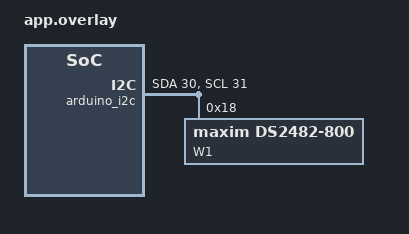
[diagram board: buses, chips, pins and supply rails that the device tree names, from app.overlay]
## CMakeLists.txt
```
cmake_minimum_required(VERSION 3.20.0)
find_package(Zephyr REQUIRED HINTS $ENV{ZEPHYR_BASE})
project(w1)

target_sources(app PRIVATE src/main.c)
```

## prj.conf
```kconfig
CONFIG_LOG=y
CONFIG_LOG_MODE_IMMEDIATE=y
CONFIG_W1=y
CONFIG_W1_NET=y
CONFIG_W1_LOG_LEVEL_DBG=y
CONFIG_W1_ZEPHYR_SERIAL=y

CONFIG_I2C=y
CONFIG_W1_DS2482_800=y
CONFIG_W1_DS2484=y

CONFIG_GPIO=y
CONFIG_GPIO_LOG_LEVEL_DBG=y
CONFIG_GPIO_DS2413=y
```

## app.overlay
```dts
// &arduino_serial {
// 	/delete-property/ rx-pull-up;

// 	w1: w1 {
// 		compatible = "zephyr,w1-serial";
// 		#address-cells = <1>;
// 		#size-cells = <0>;
// 		label = "W1";
// 	};
// };

&arduino_i2c {
	sda-pin = <30>;
	scl-pin = <31>;

	w1: w1@18 {
		compatible = "maxim,ds2482-800";
		reg = <0x18>;
		label = "W1";

		w1_gpio: ds2413 {
			compatible = "maxim,ds2413";
			gpio-controller;
			#gpio-cells = <2>;
			ngpios = <2>;
			label = "W1_GPIO";
		};
	};
};
```

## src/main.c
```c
/* Zephyr includes */
#include <device.h>
#include <devicetree.h>
#include <drivers/w1.h>
#include <drivers/gpio.h>
#include <drivers/gpio/gpio_ds2413.h>
#include <logging/log.h>
#include <zephyr.h>

LOG_MODULE_REGISTER(main, LOG_LEVEL_DBG);

const struct device *dev_w1 = DEVICE_DT_GET(DT_NODELABEL(w1));
const struct device *dev_w1_gpio = DEVICE_DT_GET(DT_NODELABEL(w1_gpio));

void search_callback(struct w1_rom rom, void *cb_arg)
{
	int ret;

	ret = gpio_drv_cmd(dev_w1_gpio, DS2413_CMD_SET_ROM, &rom, sizeof(rom));
	LOG_INF("ret: %d", ret);
}

void main(void)
{
	LOG_INF("Build time: " __DATE__ " " __TIME__);

	w1_lock_bus(dev_w1);
	size_t num_devices = w1_search_rom(dev_w1, search_callback, NULL);
	LOG_INF("Number of devices found on bus: %u", num_devices);
	w1_unlock_bus(dev_w1);
}
```
